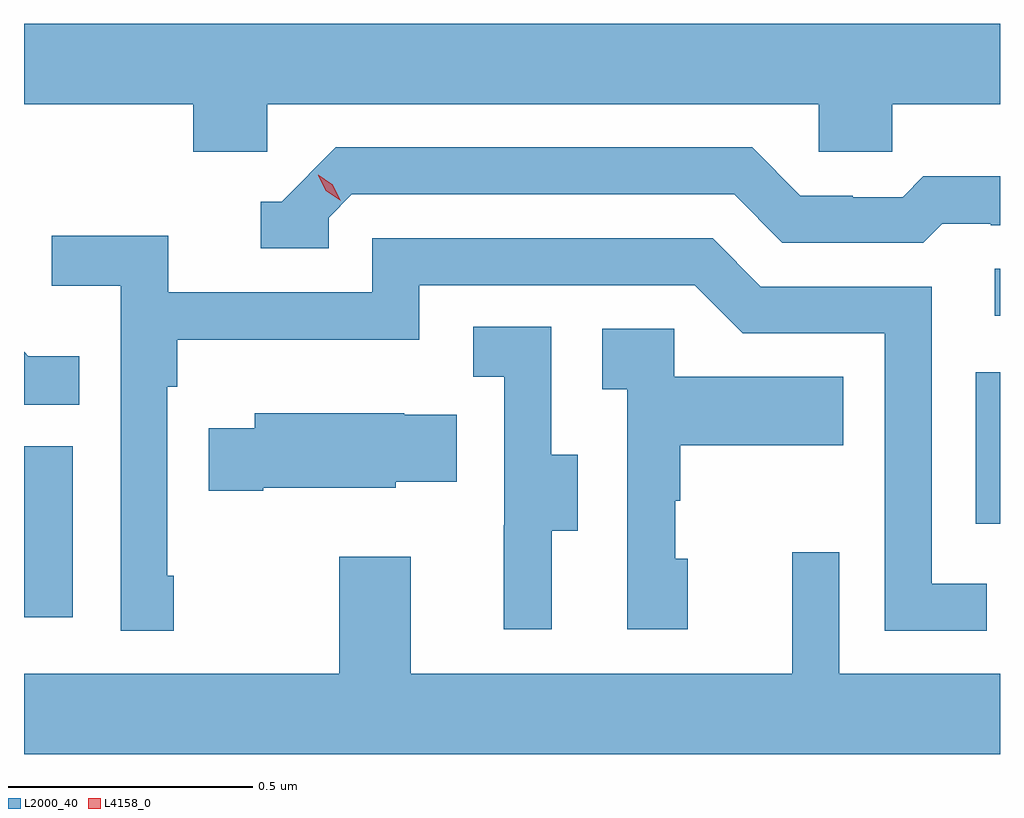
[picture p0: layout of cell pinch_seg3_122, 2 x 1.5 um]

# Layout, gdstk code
import gdstk
lib = gdstk.Library(unit=1e-6, precision=1e-09)
def R(c, l, rs):  # rectangles x0, y0, x1, y1
    for r in rs: c.add(gdstk.rectangle(r[:2], r[2:], *l))
def P(c, l, *ps):  # polygons
    for p in ps: c.add(gdstk.Polygon(p, *l))
L2000_40 = (2000, 40)
L4158_0 = (4158, 0)

pinch_seg3_122 = lib.new_cell('pinch_seg3_122')
R(pinch_seg3_122, L2000_40, [(1078.932,710.52,1079.032,710.871), (1080.882,710.712,1080.932,711.022), (1080.921,711.138,1080.932,711.234)])
P(pinch_seg3_122, L2000_40, [(1079.43,711.572),(1080.561,711.572),(1080.561,711.474),(1080.711,711.474),(1080.711,711.572),(1080.932,711.572),(1080.932,711.736),(1078.932,711.736),(1078.932,711.572),(1079.279,711.572),(1079.279,711.474),(1079.43,711.474)],
  [(1079.556,711.339),(1079.604,711.387),(1080.387,711.387),(1080.486,711.288),(1080.775,711.288),(1080.814,711.327),(1080.913,711.327),(1080.913,711.324),(1080.932,711.324),(1080.932,711.424),(1080.775,711.424),(1080.733,711.381),(1080.63,711.381),(1080.63,711.384),(1080.523,711.384),(1080.424,711.483),(1079.571,711.483),(1079.46,711.372),(1079.417,711.372),(1079.417,711.276),(1079.556,711.276)],
  [(1079.239,710.605),(1079.226,710.605),(1079.226,710.993),(1079.246,710.993),(1079.246,711.089),(1079.742,711.089),(1079.742,711.201),(1080.306,711.201),(1080.405,711.102),(1080.696,711.102),(1080.696,710.493),(1080.905,710.493),(1080.905,710.589),(1080.792,710.589),(1080.792,711.198),(1080.442,711.198),(1080.343,711.297),(1079.646,711.297),(1079.646,711.186),(1079.228,711.186),(1079.228,711.302),(1078.989,711.302),(1078.989,711.2),(1079.13,711.2),(1079.13,710.493),(1079.239,710.493)],
  [(1080.013,710.698),(1080.067,710.698),(1080.067,710.853),(1080.012,710.853),(1080.012,711.116),(1079.853,711.116),(1079.853,711.013),(1079.916,711.013),(1079.916,710.709),(1079.915,710.709),(1079.915,710.496),(1080.013,710.496)],
  [(1080.292,710.64),(1080.267,710.64),(1080.267,710.759),(1080.277,710.759),(1080.277,710.873),(1080.611,710.873),(1080.611,711.013),(1080.264,711.013),(1080.264,711.111),(1080.117,711.111),(1080.117,710.987),(1080.168,710.987),(1080.168,710.496),(1080.292,710.496)],
  [(1079.045,711.055),(1078.941,711.055),(1078.932,711.064),(1078.932,710.956),(1079.045,710.956)],
  [(1079.422,710.786),(1079.694,710.786),(1079.694,710.798),(1079.819,710.798),(1079.819,710.935),(1079.711,710.935),(1079.711,710.938),(1079.405,710.938),(1079.405,710.908),(1079.311,710.908),(1079.311,710.779),(1079.422,710.779)],
  [(1080.932,710.404),(1080.603,710.404),(1080.603,710.653),(1080.506,710.653),(1080.506,710.404),(1079.725,710.404),(1079.725,710.644),(1079.578,710.644),(1079.578,710.404),(1078.932,710.404),(1078.932,710.24),(1080.932,710.24)])
P(pinch_seg3_122, L4158_0, [(1079.581,711.374),(1079.55,711.394),(1079.535,711.426),(1079.535,711.427),(1079.535,711.427),(1079.565,711.407),(1079.581,711.374),(1079.581,711.374)])

lib.write_gds('pinch_seg3_122.gds')
